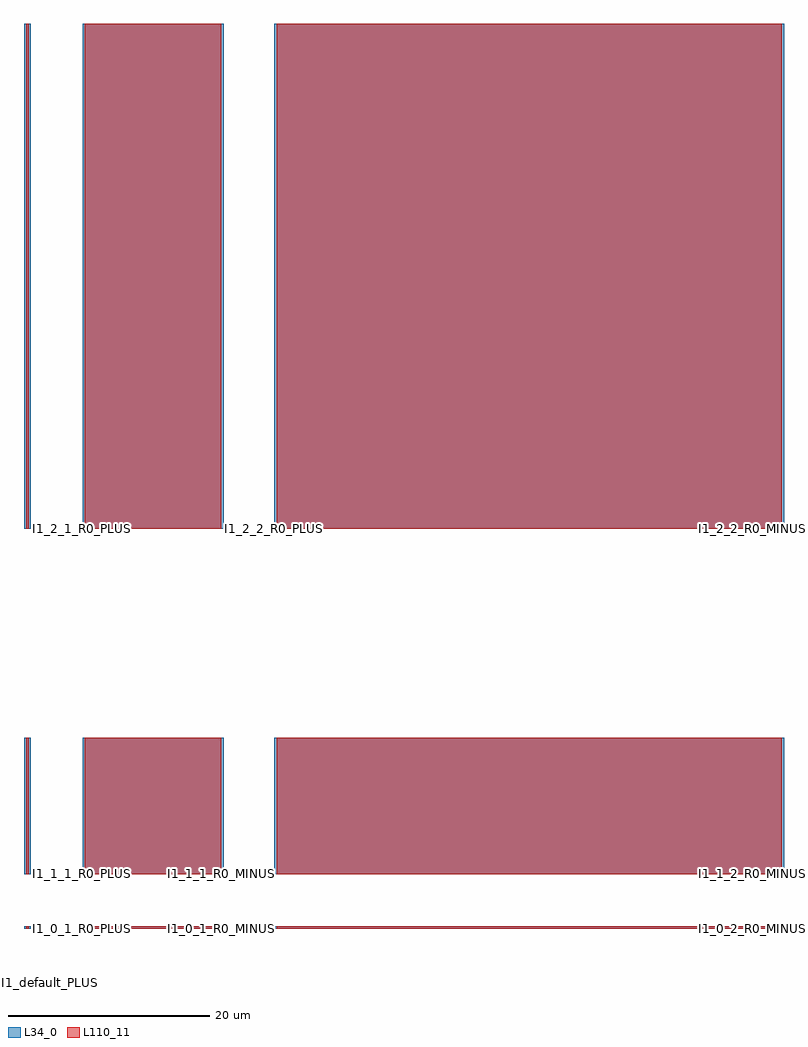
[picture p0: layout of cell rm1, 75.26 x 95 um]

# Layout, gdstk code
import gdstk
lib = gdstk.Library(unit=1e-6, precision=1e-09)
def R(c, l, rs):  # rectangles x0, y0, x1, y1
    for r in rs: c.add(gdstk.rectangle(r[:2], r[2:], *l))
L34_0 = (34, 0)
L110_11 = (110, 11)

rm1_cdns_630918095510 = lib.new_cell('rm1_CDNS_630918095510')
R(rm1_cdns_630918095510, L34_0, [(0,0,0.23,0.23), (0,0,0.69,0.23), (0.46,0,0.69,0.23)])
R(rm1_cdns_630918095510, L110_11, [(0.23,0,0.46,0.23)])

rm1_cdns_630918095511 = lib.new_cell('rm1_CDNS_630918095511')
R(rm1_cdns_630918095511, L34_0, [(0,0,0.23,0.23), (0,0,50.46,0.23), (50.23,0,50.46,0.23)])
R(rm1_cdns_630918095511, L110_11, [(0.23,0,50.23,0.23)])

rm1_cdns_630918095512 = lib.new_cell('rm1_CDNS_630918095512')
R(rm1_cdns_630918095512, L34_0, [(0,0,0.23,0.23), (0,0,0.69,0.23), (0.46,0,0.69,0.23)])
R(rm1_cdns_630918095512, L110_11, [(0.23,0,0.46,0.23)])

rm1_cdns_630918095513 = lib.new_cell('rm1_CDNS_630918095513')
R(rm1_cdns_630918095513, L34_0, [(0,0,0.23,0.23), (0,0,13.96,0.23), (13.73,0,13.96,0.23)])
R(rm1_cdns_630918095513, L110_11, [(0.23,0,13.73,0.23)])

rm1_cdns_630918095514 = lib.new_cell('rm1_CDNS_630918095514')
R(rm1_cdns_630918095514, L34_0, [(0,0,0.23,13.5), (0,0,50.46,13.5), (50.23,0,50.46,13.5)])
R(rm1_cdns_630918095514, L110_11, [(0.23,0,50.23,13.5)])

rm1_cdns_630918095515 = lib.new_cell('rm1_CDNS_630918095515')
R(rm1_cdns_630918095515, L34_0, [(0,0,0.23,13.5), (0,0,0.69,13.5), (0.46,0,0.69,13.5)])
R(rm1_cdns_630918095515, L110_11, [(0.23,0,0.46,13.5)])

rm1_cdns_630918095516 = lib.new_cell('rm1_CDNS_630918095516')
R(rm1_cdns_630918095516, L34_0, [(0,0,0.23,13.5), (0,0,13.96,13.5), (13.73,0,13.96,13.5)])
R(rm1_cdns_630918095516, L110_11, [(0.23,0,13.73,13.5)])

rm1_cdns_630918095517 = lib.new_cell('rm1_CDNS_630918095517')
R(rm1_cdns_630918095517, L34_0, [(0,0,0.23,50), (0,0,0.69,50), (0.46,0,0.69,50)])
R(rm1_cdns_630918095517, L110_11, [(0.23,0,0.46,50)])

rm1_cdns_630918095518 = lib.new_cell('rm1_CDNS_630918095518')
R(rm1_cdns_630918095518, L34_0, [(0,0,0.23,50), (0,0,13.96,50), (13.73,0,13.96,50)])
R(rm1_cdns_630918095518, L110_11, [(0.23,0,13.73,50)])

rm1_cdns_630918095519 = lib.new_cell('rm1_CDNS_630918095519')
R(rm1_cdns_630918095519, L34_0, [(0,0,0.23,50), (0,0,50.46,50), (50.23,0,50.46,50)])
R(rm1_cdns_630918095519, L110_11, [(0.23,0,50.23,50)])

rm1 = lib.new_cell('rm1')
rm1.add(gdstk.Reference(rm1_cdns_630918095510, (0,0)))
rm1.add(gdstk.Reference(rm1_cdns_630918095511, (24.8,5.4)))
rm1.add(gdstk.Reference(rm1_cdns_630918095512, (0,5.4)))
rm1.add(gdstk.Reference(rm1_cdns_630918095513, (5.8,5.4)))
rm1.add(gdstk.Reference(rm1_cdns_630918095514, (24.8,10.8)))
rm1.add(gdstk.Reference(rm1_cdns_630918095515, (0,10.8)))
rm1.add(gdstk.Reference(rm1_cdns_630918095516, (5.8,10.8)))
rm1.add(gdstk.Reference(rm1_cdns_630918095517, (0,45)))
rm1.add(gdstk.Reference(rm1_cdns_630918095518, (5.8,45)))
rm1.add(gdstk.Reference(rm1_cdns_630918095519, (24.8,45)))
rm1.add(gdstk.Label('I1_2_2_R0_PLUS', (24.825,45.025), layer=34, texttype=10))
rm1.add(gdstk.Label('I1_2_2_R0_MINUS', (75.055,45.025), layer=34, texttype=10))
rm1.add(gdstk.Label('I1_2_1_R0_PLUS', (5.825,45.025), layer=34, texttype=10))
rm1.add(gdstk.Label('I1_2_1_R0_MINUS', (19.555,45.025), layer=34, texttype=10))
rm1.add(gdstk.Label('I1_2_0_R0_PLUS', (0.025,45.025), layer=34, texttype=10))
rm1.add(gdstk.Label('I1_2_0_R0_MINUS', (0.485,45.025), layer=34, texttype=10))
rm1.add(gdstk.Label('I1_1_1_R0_PLUS', (5.825,10.825), layer=34, texttype=10))
rm1.add(gdstk.Label('I1_1_1_R0_MINUS', (19.555,10.825), layer=34, texttype=10))
rm1.add(gdstk.Label('I1_1_0_R0_PLUS', (0.025,10.825), layer=34, texttype=10))
rm1.add(gdstk.Label('I1_1_0_R0_MINUS', (0.485,10.825), layer=34, texttype=10))
rm1.add(gdstk.Label('I1_1_2_R0_PLUS', (24.825,10.825), layer=34, texttype=10))
rm1.add(gdstk.Label('I1_1_2_R0_MINUS', (75.055,10.825), layer=34, texttype=10))
rm1.add(gdstk.Label('I1_0_1_R0_PLUS', (5.825,5.425), layer=34, texttype=10))
rm1.add(gdstk.Label('I1_0_1_R0_MINUS', (19.555,5.425), layer=34, texttype=10))
rm1.add(gdstk.Label('I1_0_0_R0_PLUS', (0.025,5.425), layer=34, texttype=10))
rm1.add(gdstk.Label('I1_0_0_R0_MINUS', (0.485,5.425), layer=34, texttype=10))
rm1.add(gdstk.Label('I1_0_2_R0_PLUS', (24.825,5.425), layer=34, texttype=10))
rm1.add(gdstk.Label('I1_0_2_R0_MINUS', (75.055,5.425), layer=34, texttype=10))
rm1.add(gdstk.Label('I1_default_PLUS', (0.025,0.025), layer=34, texttype=10))
rm1.add(gdstk.Label('I1_default_MINUS', (0.485,0.025), layer=34, texttype=10))

lib.write_gds('rm1.gds')
